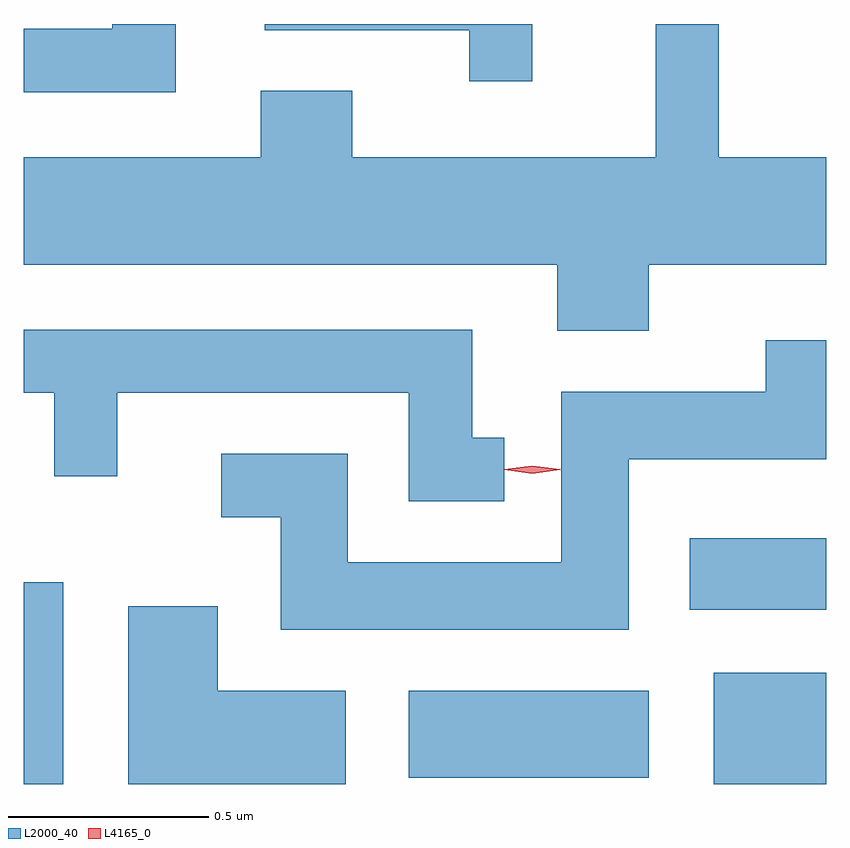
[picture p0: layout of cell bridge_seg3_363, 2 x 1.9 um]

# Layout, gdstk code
import gdstk
lib = gdstk.Library(unit=1e-6, precision=1e-09)
def R(c, l, rs):  # rectangles x0, y0, x1, y1
    for r in rs: c.add(gdstk.rectangle(r[:2], r[2:], *l))
def P(c, l, *ps):  # polygons
    for p in ps: c.add(gdstk.Polygon(p, *l))
L2000_40 = (2000, 40)
L4165_0 = (4165, 0)

bridge_seg3_363 = lib.new_cell('bridge_seg3_363')
R(bridge_seg3_363, L2000_40, [(678.331,1229.061,678.429,1229.564), (680.051,1229.061,680.331,1229.339), (679.291,1229.076,679.889,1229.294), (679.991,1229.496,680.331,1229.674)])
P(bridge_seg3_363, L2000_40, [(679.889,1230.356),(680.331,1230.356),(680.331,1230.624),(680.064,1230.624),(680.064,1230.956),(679.906,1230.956),(679.906,1230.624),(679.149,1230.624),(679.149,1230.789),(678.921,1230.789),(678.921,1230.624),(678.331,1230.624),(678.331,1230.356),(679.661,1230.356),(679.661,1230.191),(679.889,1230.191)],
  [(679.599,1230.956),(678.931,1230.956),(678.931,1230.941),(679.441,1230.941),(679.441,1230.813),(679.599,1230.813)],
  [(678.709,1230.956),(678.551,1230.956),(678.551,1230.944),(678.331,1230.944),(678.331,1230.786),(678.709,1230.786)],
  [(679.528,1229.924),(679.449,1229.924),(679.449,1230.194),(678.331,1230.194),(678.331,1230.036),(678.406,1230.036),(678.406,1229.828),(678.564,1229.828),(678.564,1230.036),(679.291,1230.036),(679.291,1229.766),(679.528,1229.766)],
  [(679.839,1229.871),(680.331,1229.871),(680.331,1230.168),(680.181,1230.168),(680.181,1230.039),(679.671,1230.039),(679.671,1229.614),(679.139,1229.614),(679.139,1229.884),(678.823,1229.884),(678.823,1229.726),(678.971,1229.726),(678.971,1229.446),(679.839,1229.446)],
  [(679.134,1229.294),(678.814,1229.294),(678.814,1229.504),(678.591,1229.504),(678.591,1229.061),(679.134,1229.061)])
P(bridge_seg3_363, L4165_0, [(679.598,1229.835),(679.529,1229.844),(679.529,1229.845),(679.529,1229.846),(679.598,1229.855),(679.668,1229.846),(679.668,1229.845),(679.668,1229.844)])

lib.write_gds('bridge_seg3_363.gds')
